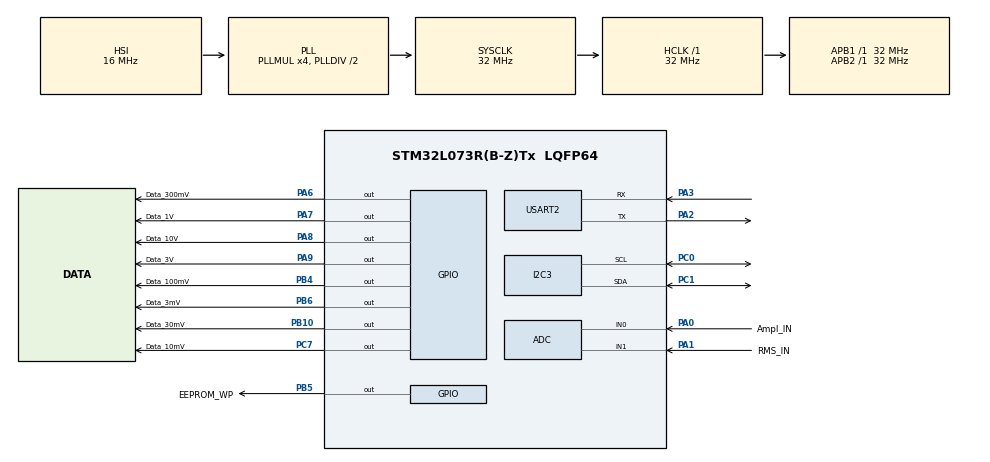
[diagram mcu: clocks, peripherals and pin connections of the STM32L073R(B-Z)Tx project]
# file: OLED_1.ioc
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Dma.ADC.0.Direction=DMA_PERIPH_TO_MEMORY
Dma.ADC.0.Instance=DMA1_Channel1
Dma.ADC.0.MemDataAlignment=DMA_MDATAALIGN_HALFWORD
Dma.ADC.0.MemInc=DMA_MINC_ENABLE
Dma.ADC.0.Mode=DMA_NORMAL
Dma.ADC.0.PeriphDataAlignment=DMA_PDATAALIGN_HALFWORD
Dma.ADC.0.PeriphInc=DMA_PINC_DISABLE
Dma.ADC.0.Priority=DMA_PRIORITY_LOW
Dma.Request0=ADC
Dma.Request1=USART2_RX
Dma.Request2=USART2_TX
Dma.USART2_RX.1.Direction=DMA_PERIPH_TO_MEMORY
Dma.USART2_RX.1.Instance=DMA1_Channel5
Dma.USART2_RX.1.MemDataAlignment=DMA_MDATAALIGN_BYTE
Dma.USART2_RX.1.MemInc=DMA_MINC_ENABLE
Dma.USART2_RX.1.Mode=DMA_NORMAL
Dma.USART2_RX.1.PeriphDataAlignment=DMA_PDATAALIGN_BYTE
Dma.USART2_RX.1.PeriphInc=DMA_PINC_DISABLE
Dma.USART2_RX.1.Priority=DMA_PRIORITY_LOW
Dma.USART2_TX.2.Direction=DMA_MEMORY_TO_PERIPH
Dma.USART2_TX.2.Instance=DMA1_Channel4
Dma.USART2_TX.2.MemDataAlignment=DMA_MDATAALIGN_BYTE
Dma.USART2_TX.2.MemInc=DMA_MINC_ENABLE
Dma.USART2_TX.2.Mode=DMA_NORMAL
Dma.USART2_TX.2.PeriphDataAlignment=DMA_PDATAALIGN_BYTE
Dma.USART2_TX.2.PeriphInc=DMA_PINC_DISABLE
Dma.USART2_TX.2.Priority=DMA_PRIORITY_LOW
I2C3.Timing=0x00707CBB
Mcu.Family=STM32L0
Mcu.Name=STM32L073R(B-Z)Tx
Mcu.Package=LQFP64
NVIC.ADC1_COMP_IRQn=true\:0\:0\:true\:false\:true\:true\:true\:true
NVIC.DMA1_Channel1_IRQn=true\:0\:0\:true\:false\:true\:false\:true\:true
NVIC.DMA1_Channel4_5_6_7_IRQn=true\:0\:0\:true\:false\:true\:false\:true\:true
NVIC.TIM6_DAC_IRQn=true\:0\:0\:true\:false\:true\:true\:true\:true
NVIC.USART2_IRQn=true\:0\:0\:true\:false\:true\:true\:true\:true
PA0.GPIO_Label=Ampl_IN
PA0.Mode=IN0
PA0.Signal=ADC_IN0
PA1.GPIO_Label=RMS_IN
PA1.Mode=IN1
PA1.Signal=ADC_IN1
PA2.Mode=Asynchronous
PA2.Signal=USART2_TX
PA3.Mode=Asynchronous
PA3.Signal=USART2_RX
PA6.GPIO_Label=Data_300mV
PA6.GPIO_PuPd=GPIO_PULLUP
PA6.PinState=GPIO_PIN_SET
PA6.Signal=GPIO_Output
PA7.GPIO_Label=Data_1V
PA7.GPIO_PuPd=GPIO_PULLUP
PA7.PinState=GPIO_PIN_SET
PA7.Signal=GPIO_Output
PA8.GPIO_Label=Data_10V
PA8.GPIO_PuPd=GPIO_PULLUP
PA8.PinState=GPIO_PIN_SET
PA8.Signal=GPIO_Output
PA9.GPIO_Label=Data_3V
PA9.GPIO_PuPd=GPIO_PULLUP
PA9.PinState=GPIO_PIN_SET
PA9.Signal=GPIO_Output
PB10.GPIO_Label=Data_30mV
PB10.GPIO_PuPd=GPIO_PULLUP
PB10.PinState=GPIO_PIN_SET
PB10.Signal=GPIO_Output
PB4.GPIO_Label=Data_100mV
PB4.GPIO_PuPd=GPIO_PULLUP
PB4.PinState=GPIO_PIN_SET
PB4.Signal=GPIO_Output
PB5.GPIO_Label=EEPROM_WP
PB5.GPIO_PuPd=GPIO_PULLUP
PB5.PinState=GPIO_PIN_SET
PB5.Signal=GPIO_Output
PB6.GPIO_Label=Data_3mV
PB6.GPIO_PuPd=GPIO_PULLUP
PB6.PinState=GPIO_PIN_SET
PB6.Signal=GPIO_Output
PC0.GPIO_Pu=GPIO_PULLUP
PC0.Mode=I2C
PC0.Signal=I2C3_SCL
PC1.GPIO_Pu=GPIO_PULLUP
PC1.Mode=I2C
PC1.Signal=I2C3_SDA
PC7.GPIO_Label=Data_10mV
PC7.GPIO_PuPd=GPIO_PULLUP
PC7.PinState=GPIO_PIN_SET
PC7.Signal=GPIO_Output
ProjectManager.HeapSize=0x200
ProjectManager.StackSize=0x400
ProjectManager.TargetToolchain=MDK-ARM V5.32
RCC.AHBFreq_Value=32000000
RCC.APB1Freq_Value=32000000
RCC.APB1TimFreq_Value=32000000
RCC.APB2Freq_Value=32000000
RCC.APB2TimFreq_Value=32000000
RCC.HCLKFreq_Value=32000000
RCC.HSE_VALUE=8000000
RCC.HSI16_VALUE=16000000
RCC.HSI48_VALUE=48000000
RCC.HSI_VALUE=16000000
RCC.LSE_VALUE=32768
RCC.MSI_VALUE=2097000
RCC.PLLMUL=RCC_PLLMUL_4
RCC.SYSCLKFreq_VALUE=32000000
RCC.SYSCLKSource=RCC_SYSCLKSOURCE_PLLCLK
RCC.VCOOutputFreq_Value=64000000
TIM6.Period=8000
TIM6.Prescaler=800
USART2.VirtualMode-Asynchronous=VM_ASYNC
VP_TIM6_VS_ClockSourceINT.Mode=Enable_Timer
board=custom

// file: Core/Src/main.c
/* USER CODE BEGIN Header */
/**
  ******************************************************************************
  * @file           : main.c
  * @brief          : Main program body
  ******************************************************************************
  * @attention
  *
  * Copyright (c) 2024 STMicroelectronics.
  * All rights reserved.
  *
  * This software is licensed under terms that can be found in the LICENSE file
  * in the root directory of this software component.
  * If no LICENSE file comes with this software, it is provided AS-IS.
  *
  ******************************************************************************
  */
/* USER CODE END Header */
#include "main.h"
#include "adc.h"
#include "dma.h"
#include "i2c.h"
#include "tim.h"
#include "usart.h"
#include "gpio.h"

/* USER CODE BEGIN Includes */
#include "ssd1306.h"
#include "fonts.h"
#include <stdio.h> // funkcijai sprintf
#include "Statechart.h"
#include "Statechart_required.h"
#include "EEPROM.h"
#include <string.h>
#include <stdlib.h>
/* USER CODE END Includes */

/* USER CODE BEGIN PD */
#define OLED_adress 0x78
#define EEPROM_adress 0xA0
#define Vref 3.3
#define N 4096
#define EEPROM_WriteBit 0
#define EEPROM_ReadBit 1
#define I2C_TIMEOUT 1000
#define NUM_ADC_CHANNELS 2
#define Min_threshold 1200 //1200
#define Max_threshold 3900 // 3900
#define Data_3mV   0x40u  // B register (PB6)
#define Data_10mV  0x80u  // C register (PC7)
#define Data_30mV  0x400u // B register (PB10)
#define Data_100mV 0x10u  // B register (PB4)
#define Data_300mV 0x40u  // A register (PA6)
#define Data_1V    0x80u  // A register (PA7)
#define Data_3V    0x200u // A register (PA9)
#define Data_10V   0x100u // A register (PA8)
/* USER CODE END PD */

/* USER CODE BEGIN PV */
uint8_t LetChangeData = 0;
int PIN = 0;// = 1234;
float data_write = 12.5;
float rerad = 0;
uint8_t TxBuffer[150];
uint8_t RxBuffer[150];
//uint8_t adresses[256];
//uint8_t DevAddr[256];
uint8_t TransmitStatus = 1;
float coefficients_rms[8]; // = {0.001, 0.003333, 0.01, 0.033333, 0.1, 0.333333, 1, 3.333333};
float coefficients_ampl[8]; // = {0.0015, 0.005, 0.015, 0.05, 0.15, 0.5, 1.5, 5};
double amplitude = 100.255689;
double rms = 1.2568;
uint16_t ADC_data[3] = {100, 250, 0};
uint16_t Sample_ampl = 0;
uint16_t Sample_RMS = 0;
int range_nr_ampl = 7;
int range_nr_rms = 7;
int range_nr = 7;
int range_nr_conversion = 7;
int previous_range_nr = 7;
short Pins[9]={Data_3mV, Data_10mV, Data_30mV, Data_100mV, Data_300mV, Data_1V, Data_3V, Data_10V};
uint8_t Asterisk = 0x2A;
uint8_t NS = 0x23;
/* USER CODE END PV */

void SystemClock_Config(void);

/* USER CODE BEGIN 0 */
Statechart sc_handle; // Statechart pointer

void ChangePinState(int nr, char function[4])
{
	if(strcmp(function,"ON")==0)
	{
		if(nr == 1)
			GPIOC->ODR&=~(Pins[nr]);
		else if((nr == 0) || (nr == 2) || (nr == 3))
			GPIOB->ODR&=~(Pins[nr]);
		else if((nr == 4) || (nr == 5) || (nr == 6) || (nr == 7))
			GPIOA->ODR&=~(Pins[nr]);
	}
	else if(strcmp(function,"OFF")==0)
	{
		if(nr == 1)
			GPIOC->ODR|=Pins[nr];
		else if((nr == 0) || (nr == 2) || (nr == 3))
			GPIOB->ODR|=Pins[nr];
		else if((nr == 4) || (nr == 5) || (nr == 6) || (nr == 7))
			GPIOA->ODR|=Pins[nr];
	}
}

/*void ScanForDev(void)
{
	for(int i=0;i<256;i++) {
		DevAddr[i]=0;
	}
	for(int i=0;i<256;i++) {
		adresses[i]=i;
	}
	uint8_t i = 0;
	for(int j=0;j<256;j++) {
		if(HAL_I2C_IsDeviceReady(&hi2c3,(adresses[j]<<1),1,10)==HAL_OK) {
			DevAddr[i]=adresses[j]<<1;
			i++;
		}
	}
}*/

void WriteCoefficientToEEPROM(float data_to_write, uint8_t page_num)
{
	if(LetChangeData)
		EEPROM_Write_NUM(page_num, 0, data_to_write);
}

void Erase_EEPROM(void)
{
	for (int i=0; i<512; i++)
	  EEPROM_PageErase(i);
}

void ReadCoefficients(void)
{
	for(int i=0; i<8; i++)
	{
		/*EEPROM_Write_NUM(i, 0, coefficients_rms[i]);
		EEPROM_Write_NUM(i+8, 0, coefficients_ampl[i]);*/
		coefficients_rms[i] = EEPROM_Read_NUM(i, 0);
		coefficients_ampl[i] = EEPROM_Read_NUM(i+8, 0);
	}
	PIN = EEPROM_Read_NUM(25, 0);
	__ASM("NOP");
}

void statechart_displayInfo(Statechart* handle)
	{
		//#ifndef DISABLE_DISPLAY
		static char string_display[30];
		// Display I2C sensor redings
		ssd1306_SetCursor(0, 15);
		sprintf(string_display,"RMS");
		//sprintf(string_display,"T0=%d.%dC",(int)AverageSensorI2C,(int)((AverageSensorI2C-
		ssd1306_WriteString(string_display,Font_11x18, White);
		// Display analog sensors readings
		ssd1306_SetCursor(40, 18); // ssd1306_SetCursor(40, 18);
		if(rms >= 1000)
		{
			rms /= 1000;
			sprintf(string_display,"%.2f V", rms);
		}
		else
			sprintf(string_display,"%.2f mV", rms);
		ssd1306_WriteString(string_display,Font_7x10, White);
		ssd1306_SetCursor(0, 37); // ssd1306_SetCursor(0, 37);
		sprintf(string_display,"A");
	  ssd1306_WriteString(string_display,Font_11x18, White);
		ssd1306_SetCursor(40, 40); // ssd1306_SetCursor(40, 40);
		if(amplitude >= 1000)
		{
			amplitude /= 1000;
			sprintf(string_display,"%.2f V", amplitude);
		}
		else
			sprintf(string_display,"%.2f mV", amplitude);
	  ssd1306_WriteString(string_display,Font_7x10, White);
		// Copy all data from local screenbuffer to the screen
		ssd1306_UpdateScreen(&hi2c3);
		//#endif
		__asm("NOP"); // for breakpoint
	}

void statechart_sendData(Statechart* handle)
	{
		if(TransmitStatus ==1)
		{
			sprintf((char *)TxBuffer,"/%.2f/%.2f/ \n\r",amplitude, rms);
			HAL_UART_Transmit(&huart2, (uint8_t *)TxBuffer, sizeof(TxBuffer), 1);
		}
	}

void HAL_TIM_PeriodElapsedCallback(TIM_HandleTypeDef *htim)
	{
		 if(htim==&htim6)
		 {
				statechart_raise_ev_GetSample(&sc_handle); //raise event TimerIntr in statechart
		 }
	}

void statechart_processData(Statechart* handle)
{
	amplitude = Sample_ampl*coefficients_ampl[range_nr_conversion]*3300/4095;
	rms = Sample_RMS*coefficients_rms[range_nr_conversion]*3300/4095;
}

sc_integer statechart_readADCSample( Statechart* handle, const sc_integer channel)
{
	if(channel == 0)
	{
		range_nr_conversion = range_nr;
		Sample_ampl = ADC_data[0];
		if(Sample_ampl > Max_threshold)
			range_nr_ampl++;
		else if(Sample_ampl < Min_threshold)
			range_nr_ampl--;
		if(range_nr_ampl < 0)
			range_nr_ampl = 0;
		else if(range_nr_ampl > 7)
			range_nr_ampl = 7;
		statechart_raise_ev_GoodSample(&sc_handle);
	}
	else if(channel == 1)
	{
		//ChangePinState(range_nr, "OFF");
		Sample_RMS = ADC_data[1];
		if(Sample_RMS > Max_threshold)
			range_nr_rms++;
		else if(Sample_RMS < Min_threshold)
			range_nr_rms--;
		if(range_nr_rms < 0)
			range_nr_rms = 0;
		else if(range_nr_rms > 7)
			range_nr_rms = 7;
		if(range_nr_ampl > range_nr_rms)
			range_nr = range_nr_ampl;
		else if(range_nr_rms >= range_nr_ampl)
			range_nr = range_nr_rms;
		if(previous_range_nr != range_nr)
		{
			ChangePinState(previous_range_nr, "OFF");
			ChangePinState(range_nr, "ON");
		}
		statechart_raise_ev_GoodSample(&sc_handle);
		range_nr_ampl = range_nr;
		range_nr_rms = range_nr;
		previous_range_nr = range_nr;
	}
 return 1;
}

sc_integer statechart_startConvADC( Statechart* handle, const sc_integer channel)
{
	if (HAL_ADC_Start_DMA(&hadc,(uint32_t *)ADC_data, 2) != HAL_OK)
	{
		return 0;
	}
	return 1;
}

void HAL_ADC_ConvCpltCallback(ADC_HandleTypeDef *hadc)
{
	statechart_raise_ev_ADCSampleReady(&sc_handle); //raise event TimerIntr in statechart
}

void ProcessUARTData(void)
{
	char RegisterNr[3];
	char RegisterData[10];
	memset(RegisterNr, 0, sizeof(RegisterNr));
	memset(RegisterData, 0, sizeof(RegisterData));
	int Nr = 0;
	uint8_t DataAppr[15];
	uint8_t Coef[150];
	float Data = 0;
	int i = 0;
	int j = 0;
	if(RxBuffer[0] == NS)
	{
		char* token;
		token = strtok((char*)RxBuffer, "/");
		while( token != NULL )
		{
      token = strtok(NULL, "/");
			if(i<8)
			{
				coefficients_rms[i] = atof(token);
				//EEPROM_Write_NUM(i, 0, coefficients_rms[i]);
			}
			if(i>7 && i<16)
			{
				coefficients_ampl[i%8] = atof(token);
				//EEPROM_Write_NUM(i, 0, atof(token));
			}
			i++;
		}
		LetChangeData = 0;
	}
	else
	{
		while(RxBuffer[i]!=0x2F)
		{
			RegisterNr[j] = RxBuffer[i];
			j++;
			i++;
		}
		j = 0;
		i++;
		while(RxBuffer[i]!=0x2A)
		{
			RegisterData[j] = RxBuffer[i];
			j++;
			i++;
		}
		/*RegisterNr = strtok((char*)RxBuffer, "/");
		RegisterData = strtok(NULL, (char*)RxBuffer);
		RegisterData = strtok(RegisterData, "*");*/
		if(*RegisterData)
			Data = atof(RegisterData);
		if(*RegisterNr)
			Nr = atof(RegisterNr);
		/*if(Nr < 8)
		{
			coefficients_rms[(int)Nr] = Data;
			WriteCoefficientToEEPROM(Data, Nr);
		}
		else if(Nr > 7 && Nr < 16)
		{
			coefficients_ampl[(int)Nr%8] = Data;
			WriteCoefficientToEEPROM(Data, Nr);
		}
		else */
		if(Nr == 25)
		{
			if(Data == PIN)
			{
				TransmitStatus = 0;
				LetChangeData = 1;
				sprintf((char*)DataAppr, "1#1#/0/0/ \n\r");
				HAL_UART_Transmit(&huart2, DataAppr, sizeof(DataAppr), 10);
				memset(Coef, 0, sizeof(Coef));
				sprintf((char*)Coef, "0/%f/%f/%f/%f/%f/%f/%f/%f/%f/%f/%f/%f/%f/%f/%f/%f/ \n", coefficients_rms[0],
					coefficients_rms[1], coefficients_rms[2], coefficients_rms[3], coefficients_rms[4], coefficients_rms[5], coefficients_rms[6],
				coefficients_rms[7], coefficients_ampl[0], coefficients_ampl[1], coefficients_ampl[2], coefficients_ampl[3], coefficients_ampl[4],
				coefficients_ampl[5], coefficients_ampl[6], coefficients_ampl[7]);
				HAL_UART_Transmit(&huart2, Coef, sizeof(Coef), 10);
			}
			else
			{
				sprintf((char*)DataAppr, "0#0#/0/0/ \n\r");
				HAL_UART_Transmit(&huart2, DataAppr, sizeof(DataAppr), 10);
			}
		}
	}
	memset(RxBuffer, 0, sizeof(RxBuffer));
	TransmitStatus = 1;
}

void HAL_UART_RxCpltCallback(UART_HandleTypeDef *huart)
{
  while(TransmitStatus != 1)
	TransmitStatus = 0;
	ProcessUARTData();
	HAL_UART_Receive_DMA(&huart2, RxBuffer, sizeof(RxBuffer));
}

/* USER CODE END 0 */

int main(void)
{

  /* MCU Configuration--------------------------------------------------------*/

  /* Reset of all peripherals, Initializes the Flash interface and the Systick. */
  HAL_Init();

  /* Configure the system clock */
  SystemClock_Config();

  /* Initialize all configured peripherals */
  MX_GPIO_Init();
  MX_DMA_Init();
  MX_TIM6_Init();
  MX_I2C3_Init();
  MX_ADC_Init();
  MX_USART2_UART_Init();
  /* USER CODE BEGIN 2 */
	ssd1306_Init(&hi2c3);
  // Write data to local screenbuffer
	ssd1306_SetCursor(0,0);
	ssd1306_WriteString("Starting...",Font_11x18, White);
	// Copy all data from local screenbuffer to the screen
	ssd1306_UpdateScreen(&hi2c3);
	GPIOA->ODR&=~(Pins[7]);
	ReadCoefficients();
	//ScanForDev();
  //displayInfo();
	statechart_init(&sc_handle); //inicializuoti busenu automata
	statechart_enter(&sc_handle);
	if(HAL_TIM_Base_Start_IT(&htim6) != HAL_OK) //run TIM6 timer
	 {
			//ErrorHandler();
	 }
	HAL_UART_Receive_DMA(&huart2, (uint8_t *)RxBuffer, sizeof(RxBuffer));
  /* USER CODE END 2 */

  /* Infinite loop */
  while (1)
  {

    /* USER CODE BEGIN 3 */
  }
	statechart_exit(&sc_handle);
  /* USER CODE END 3 */
}

void SystemClock_Config(void)
{
  RCC_OscInitTypeDef RCC_OscInitStruct = {0};
  RCC_ClkInitTypeDef RCC_ClkInitStruct = {0};
  RCC_PeriphCLKInitTypeDef PeriphClkInit = {0};

  /** Configure the main internal regulator output voltage
  */
  __HAL_PWR_VOLTAGESCALING_CONFIG(PWR_REGULATOR_VOLTAGE_SCALE1);

  /** Initializes the RCC Oscillators according to the specified parameters
  * in the RCC_OscInitTypeDef structure.
  */
  RCC_OscInitStruct.OscillatorType = RCC_OSCILLATORTYPE_HSI;
  RCC_OscInitStruct.HSIState = RCC_HSI_ON;
  RCC_OscInitStruct.HSICalibrationValue = RCC_HSICALIBRATION_DEFAULT;
  RCC_OscInitStruct.PLL.PLLState = RCC_PLL_ON;
  RCC_OscInitStruct.PLL.PLLSource = RCC_PLLSOURCE_HSI;
  RCC_OscInitStruct.PLL.PLLMUL = RCC_PLLMUL_4;
  RCC_OscInitStruct.PLL.PLLDIV = RCC_PLLDIV_2;
  if (HAL_RCC_OscConfig(&RCC_OscInitStruct) != HAL_OK)
  {
    Error_Handler();
  }

  /** Initializes the CPU, AHB and APB buses clocks
  */
  RCC_ClkInitStruct.ClockType = RCC_CLOCKTYPE_HCLK|RCC_CLOCKTYPE_SYSCLK
                              |RCC_CLOCKTYPE_PCLK1|RCC_CLOCKTYPE_PCLK2;
  RCC_ClkInitStruct.SYSCLKSource = RCC_SYSCLKSOURCE_PLLCLK;
  RCC_ClkInitStruct.AHBCLKDivider = RCC_SYSCLK_DIV1;
  RCC_ClkInitStruct.APB1CLKDivider = RCC_HCLK_DIV1;
  RCC_ClkInitStruct.APB2CLKDivider = RCC_HCLK_DIV1;

  if (HAL_RCC_ClockConfig(&RCC_ClkInitStruct, FLASH_LATENCY_1) != HAL_OK)
  {
    Error_Handler();
  }
  PeriphClkInit.PeriphClockSelection = RCC_PERIPHCLK_USART2|RCC_PERIPHCLK_I2C3;
  PeriphClkInit.Usart2ClockSelection = RCC_USART2CLKSOURCE_PCLK1;
  PeriphClkInit.I2c3ClockSelection = RCC_I2C3CLKSOURCE_PCLK1;
  if (HAL_RCCEx_PeriphCLKConfig(&PeriphClkInit) != HAL_OK)
  {
    Error_Handler();
  }
}

void Error_Handler(void)
{
  __disable_irq();
  while (1)
  {
  }
}
